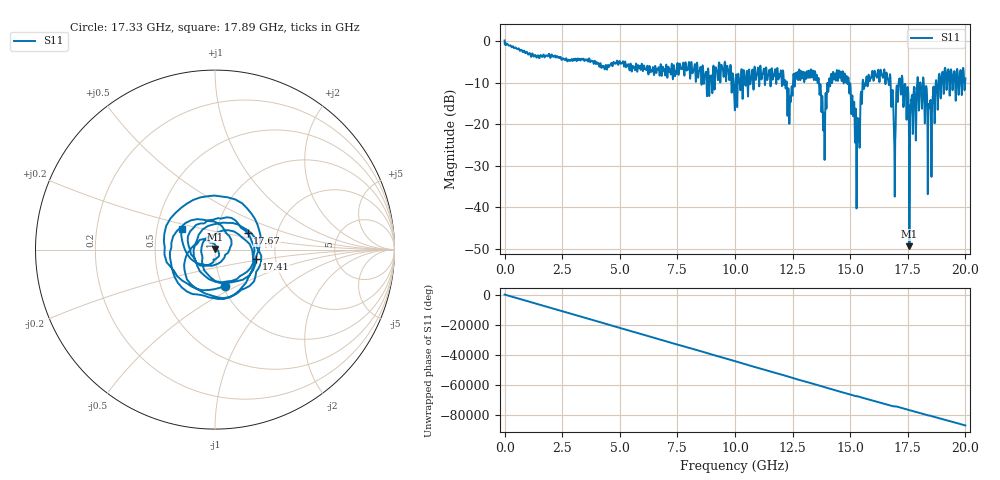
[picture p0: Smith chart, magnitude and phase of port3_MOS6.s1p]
! MS46122B
! 2250307/22442219
! 6/16/2025 7:50:28 AM
! C:\USERS\SPARKY\DOCUMENTS\VNA_DATA\JUNE16_2025\3.1K\PORT3_MOS6.S1P
! CHANNEL.1
! TR.MEASUREMENT
! RAW.DATA
# GHZ S RI R 50.0
! FREQ.GHZ  S11RE  S11IM
!; PortSelection: Port_1
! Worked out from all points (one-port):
!   10001 points, 1 MHz to 20 GHz, reference 50 ohm
!   lowest |S11| = -49.4 dB at 17.57 GHz (marker M1), VSWR 1.01, Z = 50 + j0.337 ohm
!   |S11| at or under -10 dB: 14.94 GHz to 15.54 GHz (596.7 MHz wide, 3.92 % of centre); 17.28 GHz to 17.91 GHz (630.3 MHz wide, 3.58 % of centre); 18.19 GHz to 18.71 GHz (518.2 MHz wide, 2.81 % of centre) (the widest 3 of 52)
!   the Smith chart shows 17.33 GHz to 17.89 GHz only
!   S11 on the Smith chart (normalised r, x): 17.33 GHz: 1.02, -0.43; 17.41 GHz: 1.58, -0.17; 17.67 GHz: 1.41, +0.27; 17.89 GHz: 0.67, +0.16
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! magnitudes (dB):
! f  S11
! 1 MHz  0.2
! 2.501 GHz  -4.2
! 5.001 GHz  -4.9
! 7.501 GHz  -5.2
! 9.491 GHz  -7.6
! 10 GHz  -15.8
! 11.17 GHz  -8.2
! 12.5 GHz  -12.6
! 13.46 GHz  -7.2
! 13.83 GHz  -21.2
! 14.25 GHz  -7.5
! 15 GHz  -10.1
! 15.34 GHz  -23.0
! 15.54 GHz  -9.5
! 15.88 GHz  -8.8
! 16.66 GHz  -9.5
! 16.88 GHz  -18.3
! 17.09 GHz  -10.9
! 17.33 GHz  -13.5
! 17.41 GHz  -12.6
! 17.5 GHz  -11.5
! 17.57 GHz  -49.4
! 17.67 GHz  -13.8
! 17.89 GHz  -13.2
! 18.24 GHz  -19.8
! 18.45 GHz  -15.6
! 19.05 GHz  -12.4
! 20 GHz  -8.9
